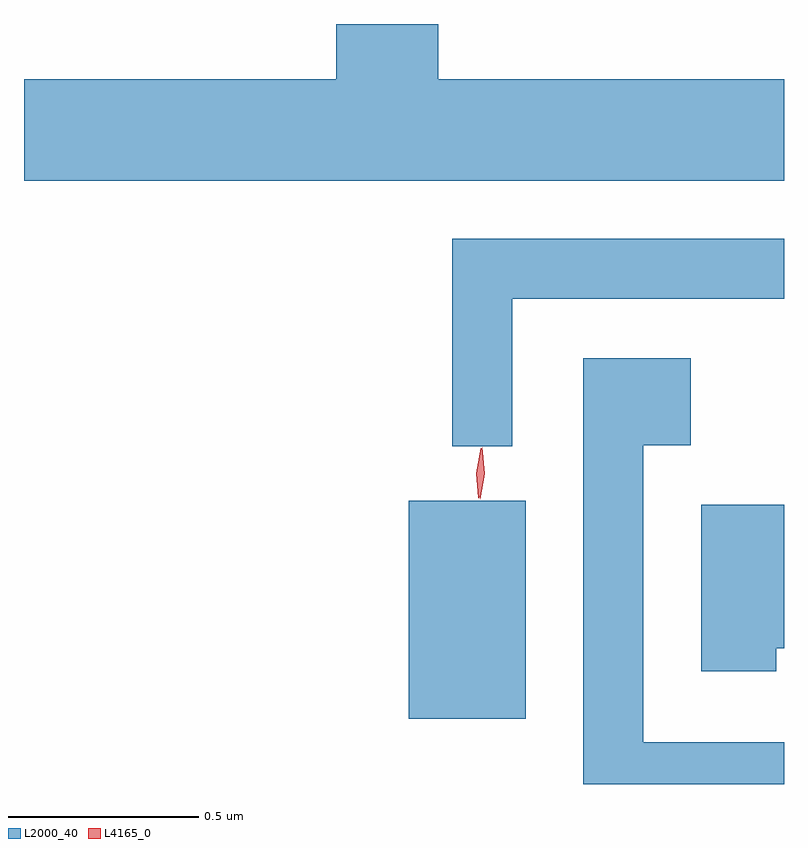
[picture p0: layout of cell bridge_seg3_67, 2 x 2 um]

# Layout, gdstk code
import gdstk
lib = gdstk.Library(unit=1e-6, precision=1e-09)
def R(c, l, rs):  # rectangles x0, y0, x1, y1
    for r in rs: c.add(gdstk.rectangle(r[:2], r[2:], *l))
def P(c, l, *ps):  # polygons
    for p in ps: c.add(gdstk.Polygon(p, *l))
L2000_40 = (2000, 40)
L4165_0 = (4165, 0)

bridge_seg3_67 = lib.new_cell('bridge_seg3_67')
R(bridge_seg3_67, L2000_40, [(1114.366,1220.061,1114.674,1220.634)])
P(bridge_seg3_67, L2000_40, [(1115.354,1221.744),(1114.444,1221.744),(1114.444,1221.889),(1114.176,1221.889),(1114.176,1221.744),(1113.354,1221.744),(1113.354,1221.476),(1115.354,1221.476)],
  [(1114.639,1221.166),(1115.354,1221.166),(1115.354,1221.324),(1114.481,1221.324),(1114.481,1220.778),(1114.639,1220.778)],
  [(1115.354,1219.999),(1114.984,1219.999),(1114.984,1220.781),(1115.109,1220.781),(1115.109,1221.009),(1114.826,1221.009),(1114.826,1219.889),(1115.354,1219.889)],
  [(1115.334,1220.246),(1115.354,1220.246),(1115.354,1220.624),(1115.136,1220.624),(1115.136,1220.186),(1115.334,1220.186)])
P(bridge_seg3_67, L4165_0, [(1114.554,1220.638),(1114.554,1220.639),(1114.547,1220.707),(1114.56,1220.775),(1114.56,1220.775),(1114.56,1220.775),(1114.567,1220.706),(1114.555,1220.639)],
  [(1114.551,1220.641),(1114.55,1220.642),(1114.544,1220.707),(1114.556,1220.772),(1114.556,1220.772),(1114.557,1220.772),(1114.563,1220.706),(1114.552,1220.642)])

lib.write_gds('bridge_seg3_67.gds')
